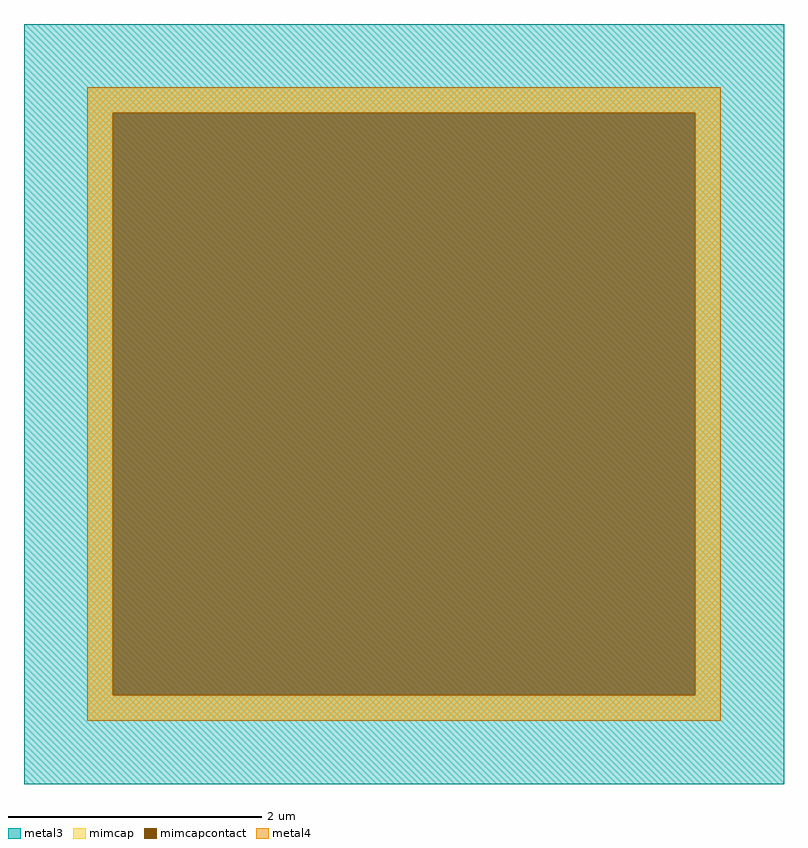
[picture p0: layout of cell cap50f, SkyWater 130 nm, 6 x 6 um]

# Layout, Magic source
magic
tech sky130A
<< metal3 >>
rect -325 -300 275 300
<< mimcap >>
rect -275 230 225 250
rect -275 -230 -255 230
rect 205 -230 225 230
rect -275 -250 225 -230
<< mimcapcontact >>
rect -255 -230 205 230
<< metal4 >>
rect -275 230 225 250
rect -275 -230 -255 230
rect 205 -230 225 230
rect -275 -250 225 -230
<< properties >>
string FIXED_BBOX -325 -300 275 300
string gencell sky130_fd_pr__cap_mim_m3_1
string library sky130
string parameters w 5 l 5 val 53.8 carea 2.00 cperi 0.19 nx 1 ny 1 dummy 0 square 0 lmin 2.00 wmin 2.00 lmax 30.0 wmax 30.0 dc 0 bconnect 1 tconnect 1 ccov 100
<< end >>
